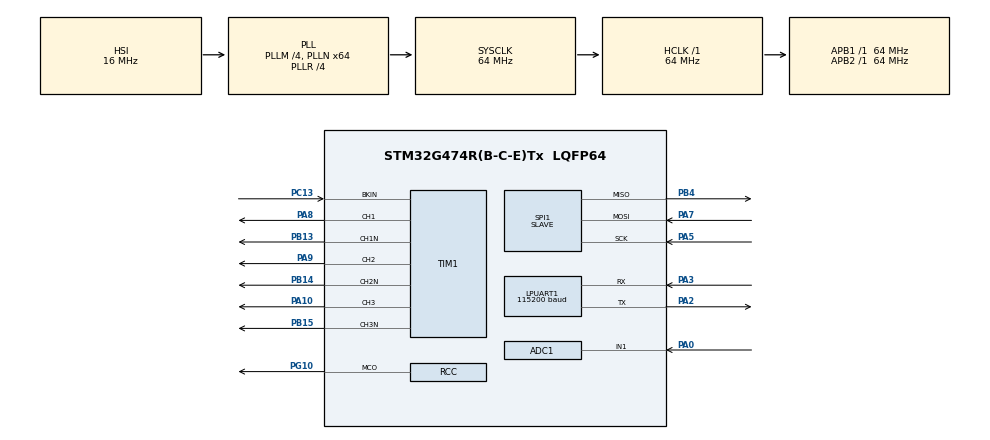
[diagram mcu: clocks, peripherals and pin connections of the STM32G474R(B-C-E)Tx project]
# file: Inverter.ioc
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ADC1.Channel-0\#ChannelRegularConversion=ADC_CHANNEL_1
ADC1.ClockPrescaler=ADC_CLOCK_ASYNC_DIV256
ADC1.ContinuousConvMode=ENABLE
ADC1.DMAContinuousRequests=ENABLE
ADC1.NbrOfConversionFlag=1
ADC1.OffsetNumber-0\#ChannelRegularConversion=ADC_OFFSET_NONE
ADC1.Overrun=ADC_OVR_DATA_OVERWRITTEN
ADC1.Rank-0\#ChannelRegularConversion=1
ADC1.SamplingTime-0\#ChannelRegularConversion=ADC_SAMPLETIME_2CYCLES_5
ADC1.master=1
Dma.ADC1.0.Direction=DMA_PERIPH_TO_MEMORY
Dma.ADC1.0.EventEnable=DISABLE
Dma.ADC1.0.Instance=DMA1_Channel1
Dma.ADC1.0.MemDataAlignment=DMA_MDATAALIGN_HALFWORD
Dma.ADC1.0.MemInc=DMA_MINC_ENABLE
Dma.ADC1.0.Mode=DMA_CIRCULAR
Dma.ADC1.0.PeriphDataAlignment=DMA_PDATAALIGN_HALFWORD
Dma.ADC1.0.PeriphInc=DMA_PINC_DISABLE
Dma.ADC1.0.Polarity=HAL_DMAMUX_REQ_GEN_RISING
Dma.ADC1.0.Priority=DMA_PRIORITY_LOW
Dma.ADC1.0.RequestNumber=1
Dma.ADC1.0.SignalID=NONE
Dma.ADC1.0.SyncEnable=DISABLE
Dma.ADC1.0.SyncPolarity=HAL_DMAMUX_SYNC_NO_EVENT
Dma.ADC1.0.SyncRequestNumber=1
Dma.ADC1.0.SyncSignalID=NONE
Dma.Request0=ADC1
IWDG.Prescaler=IWDG_PRESCALER_32
LPUART1.BaudRate=115200
Mcu.Family=STM32G4
Mcu.Name=STM32G474R(B-C-E)Tx
Mcu.Package=LQFP64
NVIC.DMA1_Channel1_IRQn=true\:0\:0\:false\:false\:true\:false\:true\:true
NVIC.PriorityGroup=NVIC_PRIORITYGROUP_4
PA0.Mode=IN1-Single-Ended
PA0.Signal=ADC1_IN1
PA10.Signal=S_TIM1_CH3
PA13.Mode=Serial_Wire
PA13.Signal=SYS_JTMS-SWDIO
PA14.Mode=Serial_Wire
PA14.Signal=SYS_JTCK-SWCLK
PA2.Mode=Asynchronous
PA2.Signal=LPUART1_TX
PA3.Mode=Asynchronous
PA3.Signal=LPUART1_RX
PA5.Mode=Full_Duplex_Slave
PA5.Signal=SPI1_SCK
PA7.Mode=Full_Duplex_Slave
PA7.Signal=SPI1_MOSI
PA8.Signal=S_TIM1_CH1
PA9.Signal=S_TIM1_CH2
PB13.Mode=PWM Generation1 CH1 CH1N
PB13.Signal=TIM1_CH1N
PB14.Mode=PWM Generation2 CH2 CH2N
PB14.Signal=TIM1_CH2N
PB15.Mode=PWM Generation3 CH3 CH3N
PB15.Signal=TIM1_CH3N
PB4.Mode=Full_Duplex_Slave
PB4.Signal=SPI1_MISO
PC13.Mode=Activate-Break-Input
PC13.Signal=TIM1_BKIN
PG10-NRST.GPIO_Speed=GPIO_SPEED_FREQ_VERY_HIGH
PG10-NRST.Mode=Clock-out
PG10-NRST.Signal=RCC_MCO
ProjectManager.HeapSize=0x200
ProjectManager.StackSize=0x400
ProjectManager.TargetToolchain=Makefile
RCC.ADC12CLockSelection=RCC_ADC12CLKSOURCE_PLL
RCC.ADC12Freq_Value=64000000
RCC.ADC345Freq_Value=64000000
RCC.AHBFreq_Value=64000000
RCC.APB1Freq_Value=64000000
RCC.APB1TimFreq_Value=64000000
RCC.APB2Freq_Value=64000000
RCC.APB2TimFreq_Value=64000000
RCC.CK48CLockSelection=RCC_USBCLKSOURCE_HSI48
RCC.CortexFreq_Value=64000000
RCC.EXTERNAL_CLOCK_VALUE=12288000
RCC.HCLKFreq_Value=64000000
RCC.HSE_VALUE=8000000
RCC.HSI48_VALUE=48000000
RCC.HSI_VALUE=16000000
RCC.LSE_VALUE=32768
RCC.PLLM=RCC_PLLM_DIV4
RCC.PLLN=64
RCC.PLLP=RCC_PLLP_DIV4
RCC.PLLQ=RCC_PLLQ_DIV4
RCC.PLLR=RCC_PLLR_DIV4
RCC.RCC_MCO1Source=RCC_MCO1SOURCE_LSI
RCC.SYSCLKFreq_VALUE=64000000
RCC.SYSCLKSource=RCC_SYSCLKSOURCE_PLLCLK
RCC.USBFreq_Value=48000000
RCC.VCOOutputFreq_Value=256000000
SH.S_TIM1_CH1.0=TIM1_CH1,PWM Generation1 CH1 CH1N
SH.S_TIM1_CH2.0=TIM1_CH2,PWM Generation2 CH2 CH2N
SH.S_TIM1_CH3.0=TIM1_CH3,PWM Generation3 CH3 CH3N
SPI1.DataSize=SPI_DATASIZE_8BIT
SPI1.Direction=SPI_DIRECTION_2LINES
SPI1.Mode=SPI_MODE_SLAVE
SPI1.VirtualType=VM_SLAVE
TIM1.Channel-PWM\ Generation1\ CH1\ CH1N=TIM_CHANNEL_1
TIM1.Channel-PWM\ Generation2\ CH2\ CH2N=TIM_CHANNEL_2
TIM1.Channel-PWM\ Generation3\ CH3\ CH3N=TIM_CHANNEL_3
VP_IWDG_VS_IWDG.Mode=IWDG_Activate
VP_SYS_VS_DBSignals.Mode=DisableDeadBatterySignals
board=custom

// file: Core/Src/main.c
/* USER CODE BEGIN Header */
/**
 ******************************************************************************
 * @file           : main.c
 * @brief          : Main program body
 ******************************************************************************
 * @attention
 *
 * Copyright (c) 2026 STMicroelectronics.
 * All rights reserved.
 *
 * This software is licensed under terms that can be found in the LICENSE file
 * in the root directory of this software component.
 * If no LICENSE file comes with this software, it is provided AS-IS.
 *
 ******************************************************************************
 */
/* USER CODE END Header */
#include "main.h"

/* USER CODE BEGIN Includes */
#include <math.h>
#include <stdio.h>
#include <stdlib.h>
/* USER CODE END Includes */

/* USER CODE BEGIN PD */
// MARK: #defines
#define INV_TWO_PI 6.28318530718f
#define INV_PHASE_SHIFT_120_RAD 2.09439510239f
#define INV_PHASE_SHIFT_240_RAD 4.18879020479f
#define INV_MODULATION_MAX                                                                         \
    0.7f // max duty cycle (max - min) of the square wave, max is 1.0, but don't go over 0.9
#define INV_MODULATION_RAMP_STEP 0.0001f
#define INV_OUTPUT_FREQ_HZ 2.0f
#define INV_MAX_DUTY_CYCLE 1.0f // Max duty cycle; if it is over 1.0, it causes overflow
#define DELAY_MS 1              // Delay in ms for main loop update rate
#define ADC_BUFFER_SIZE 32U
/* USER CODE END PD */

ADC_HandleTypeDef hadc1;
DMA_HandleTypeDef hdma_adc1;

IWDG_HandleTypeDef hiwdg;

UART_HandleTypeDef hlpuart1;

SPI_HandleTypeDef hspi1;

TIM_HandleTypeDef htim1;

/* USER CODE BEGIN PV */
// MARK: Private Var
static float g_phase_rad = 0.0f;        // Current electrical angle in radians
static float g_modulation_index = 0.0f; // PWM duty cycle (0.0 to 1.0), starts at 0 for ramp-up
// static uint8_t spi_rx_buffer[4];        // 4 bytes, 32bits for a float
static volatile uint16_t adc_buf[ADC_BUFFER_SIZE];
static volatile uint16_t adc_latest = 0;
/* USER CODE END PV */

void SystemClock_Config(void);
static void MX_GPIO_Init(void);
static void MX_DMA_Init(void);
static void MX_TIM1_Init(void);
static void MX_SPI1_Init(void);
static void MX_IWDG_Init(void);
static void MX_ADC1_Init(void);
static void MX_LPUART1_UART_Init(void);
/* USER CODE BEGIN PFP */
static void Inverter_StartPwmOutputs(void);
static void Inverter_UpdateSineDuty(float electrical_angle_rad, float modulation_index);
// void HAL_SPI_RxCpltCallback(SPI_HandleTypeDef *hspi);
/* USER CODE END PFP */

/* USER CODE BEGIN 0 */
// MARK: User Funcs

// void HAL_SPI_RxCpltCallback(SPI_HandleTypeDef *hspi){
//   if(hspi->Instance == SPI1) {
//     memcpy(&g_phase_rad, spi_rx_buffer, sizeof(float)); // Copy received bytes into g_phase_rad
//     HAL_SPI_Receive_IT(&hspi1, spi_rx_buffer, sizeof(float)); // Restart SPI receive in interrupt
//     mode
//   }
// }

static uint32_t Inverter_ClampCompare(
    float duty_cycle
) { // clamps duty cycle to max and converts to timer compare value
    const float clamped_mod = fminf(fmaxf(duty_cycle, 0.0f), INV_MAX_DUTY_CYCLE);
    return (uint32_t)(clamped_mod * htim1.Init.Period);
}

static void Inverter_StartPwmOutputs(void) {
    if (HAL_TIM_PWM_Start(&htim1, TIM_CHANNEL_1) != HAL_OK) {
        Error_Handler();
    }
    if (HAL_TIMEx_PWMN_Start(&htim1, TIM_CHANNEL_1) != HAL_OK) {
        Error_Handler();
    } // Start complementary output for channel 1

    if (HAL_TIM_PWM_Start(&htim1, TIM_CHANNEL_2) != HAL_OK) {
        Error_Handler();
    }
    if (HAL_TIMEx_PWMN_Start(&htim1, TIM_CHANNEL_2) != HAL_OK) {
        Error_Handler();
    } // Start complementary output for channel 2

    if (HAL_TIM_PWM_Start(&htim1, TIM_CHANNEL_3) != HAL_OK) {
        Error_Handler();
    }
    if (HAL_TIMEx_PWMN_Start(&htim1, TIM_CHANNEL_3) != HAL_OK) {
        Error_Handler();
    } // Start complementary output for channel 1
}

static void Inverter_UpdateSineDuty(float electrical_angle_rad, float modulation_index) {
    const float m =
        fminf(fmaxf(modulation_index, 0.0f), INV_MODULATION_MAX); // Clamp modulation index to max
    // Function for duty cycle: D = 0.5 + 0.5 * m * sin(wt) for each phase, where m is modu. index
    // and wd is elec. angle
    const float duty_a = 0.5f + 0.5f * m * sinf(electrical_angle_rad);
    const float duty_b = 0.5f + 0.5f * m * sinf(electrical_angle_rad + INV_PHASE_SHIFT_120_RAD);
    const float duty_c = 0.5f + 0.5f * m * sinf(electrical_angle_rad + INV_PHASE_SHIFT_240_RAD);

    __HAL_TIM_SET_COMPARE(&htim1, TIM_CHANNEL_1, Inverter_ClampCompare(duty_a));
    __HAL_TIM_SET_COMPARE(&htim1, TIM_CHANNEL_2, Inverter_ClampCompare(duty_b));
    __HAL_TIM_SET_COMPARE(&htim1, TIM_CHANNEL_3, Inverter_ClampCompare(duty_c));
}
/* USER CODE END 0 */

int main(void)
{

  /* USER CODE BEGIN 1 */
    // MARK: Main

  /* USER CODE END 1 */

  /* MCU Configuration--------------------------------------------------------*/

  /* Reset of all peripherals, Initializes the Flash interface and the Systick. */
  HAL_Init();

  /* Configure the system clock */
  SystemClock_Config();

  /* Initialize all configured peripherals */
  MX_GPIO_Init();
  MX_DMA_Init();
  MX_TIM1_Init();
  MX_SPI1_Init();
  MX_IWDG_Init();
  MX_ADC1_Init();
  MX_LPUART1_UART_Init();
  /* USER CODE BEGIN 2 */
    Inverter_StartPwmOutputs(); // Start PWM outputs before entering main loop

    if (HAL_ADCEx_Calibration_Start(&hadc1, ADC_SINGLE_ENDED) != HAL_OK) {
        Error_Handler();
    }
    if (HAL_ADC_Start_DMA(&hadc1, (uint32_t *)adc_buf, ADC_BUFFER_SIZE) != HAL_OK) {
        Error_Handler();
    }
    // HAL_SPI_Receive_IT(&hspi1, spi_rx_buffer, sizeof(float)); // Starts SPI receive for
    // interrupts

  /* USER CODE END 2 */

  /* Infinite loop */
  /* USER CODE BEGIN WHILE */
    // MARK: While Loop
    while (1) {
    /* USER CODE END WHILE */

    /* USER CODE BEGIN 3 */
        // simulate phase angle
        const float dtime_s = 0.001f; // delta time, 1ms update interval
        g_phase_rad += INV_TWO_PI * INV_OUTPUT_FREQ_HZ *
                       dtime_s; // Increment phase based on desired output frequency
        if (g_phase_rad >= INV_TWO_PI) {
            g_phase_rad -= INV_TWO_PI;
        } // Wrap phase to [0, 2*pi]

        // // Blocking receive from SPI
        // HAL_SPI_Receive(&hspi1, spi_rx_buffer, sizeof(float), HAL_MAX_DELAY); // Receive 4
        // bytes (32 bits) from SPI memcpy(&g_phase_rad, spi_rx_buffer, sizeof(float)); // Copy
        // received bytes into g_phase_rad
        static uint32_t last_time = 0;
        uint32_t now = HAL_GetTick();

        if ((now - last_time) >= 100u) {
            last_time = now;

            char message[32];
            unsigned sample = adc_latest;
            int length = snprintf(message, sizeof(message), "ADC: %u\r\n", sample);
            if (length > 0 && length < (int)sizeof(message)) {
                HAL_UART_Transmit(&hlpuart1, (uint8_t *)message, (uint16_t)length, 10);
            }
        }

        // ramp up modulation index to max for smooth startup
        if (g_modulation_index < INV_MODULATION_MAX) { // Ramp up modulation index to max
            g_modulation_index += INV_MODULATION_RAMP_STEP;
            if (g_modulation_index > INV_MODULATION_MAX) { // Clamp to max
                g_modulation_index = INV_MODULATION_MAX;
            }
        }

        Inverter_UpdateSineDuty(g_phase_rad, g_modulation_index); // Update PWM duty cycle
        HAL_IWDG_Refresh(&hiwdg);
        HAL_Delay(DELAY_MS); // Delay 1ms
    }
  /* USER CODE END 3 */
}

void SystemClock_Config(void)
{
  RCC_OscInitTypeDef RCC_OscInitStruct = {0};
  RCC_ClkInitTypeDef RCC_ClkInitStruct = {0};

  /** Configure the main internal regulator output voltage
  */
  HAL_PWREx_ControlVoltageScaling(PWR_REGULATOR_VOLTAGE_SCALE1);

  /** Initializes the RCC Oscillators according to the specified parameters
  * in the RCC_OscInitTypeDef structure.
  */
  RCC_OscInitStruct.OscillatorType = RCC_OSCILLATORTYPE_HSI|RCC_OSCILLATORTYPE_LSI;
  RCC_OscInitStruct.HSIState = RCC_HSI_ON;
  RCC_OscInitStruct.HSICalibrationValue = RCC_HSICALIBRATION_DEFAULT;
  RCC_OscInitStruct.LSIState = RCC_LSI_ON;
  RCC_OscInitStruct.PLL.PLLState = RCC_PLL_ON;
  RCC_OscInitStruct.PLL.PLLSource = RCC_PLLSOURCE_HSI;
  RCC_OscInitStruct.PLL.PLLM = RCC_PLLM_DIV4;
  RCC_OscInitStruct.PLL.PLLN = 64;
  RCC_OscInitStruct.PLL.PLLP = RCC_PLLP_DIV4;
  RCC_OscInitStruct.PLL.PLLQ = RCC_PLLQ_DIV4;
  RCC_OscInitStruct.PLL.PLLR = RCC_PLLR_DIV4;
  if (HAL_RCC_OscConfig(&RCC_OscInitStruct) != HAL_OK)
  {
    Error_Handler();
  }

  /** Initializes the CPU, AHB and APB buses clocks
  */
  RCC_ClkInitStruct.ClockType = RCC_CLOCKTYPE_HCLK|RCC_CLOCKTYPE_SYSCLK
                              |RCC_CLOCKTYPE_PCLK1|RCC_CLOCKTYPE_PCLK2;
  RCC_ClkInitStruct.SYSCLKSource = RCC_SYSCLKSOURCE_PLLCLK;
  RCC_ClkInitStruct.AHBCLKDivider = RCC_SYSCLK_DIV1;
  RCC_ClkInitStruct.APB1CLKDivider = RCC_HCLK_DIV1;
  RCC_ClkInitStruct.APB2CLKDivider = RCC_HCLK_DIV1;

  if (HAL_RCC_ClockConfig(&RCC_ClkInitStruct, FLASH_LATENCY_2) != HAL_OK)
  {
    Error_Handler();
  }
  HAL_RCC_MCOConfig(RCC_MCO_PG10, RCC_MCO1SOURCE_LSI, RCC_MCODIV_1);
}

static void MX_ADC1_Init(void)
{

  ADC_MultiModeTypeDef multimode = {0};
  ADC_ChannelConfTypeDef sConfig = {0};

  /** Common config
  */
  hadc1.Instance = ADC1;
  hadc1.Init.ClockPrescaler = ADC_CLOCK_ASYNC_DIV256;
  hadc1.Init.Resolution = ADC_RESOLUTION_12B;
  hadc1.Init.DataAlign = ADC_DATAALIGN_RIGHT;
  hadc1.Init.GainCompensation = 0;
  hadc1.Init.ScanConvMode = ADC_SCAN_DISABLE;
  hadc1.Init.EOCSelection = ADC_EOC_SINGLE_CONV;
  hadc1.Init.LowPowerAutoWait = DISABLE;
  hadc1.Init.ContinuousConvMode = ENABLE;
  hadc1.Init.NbrOfConversion = 1;
  hadc1.Init.DiscontinuousConvMode = DISABLE;
  hadc1.Init.ExternalTrigConv = ADC_SOFTWARE_START;
  hadc1.Init.ExternalTrigConvEdge = ADC_EXTERNALTRIGCONVEDGE_NONE;
  hadc1.Init.DMAContinuousRequests = ENABLE;
  hadc1.Init.Overrun = ADC_OVR_DATA_OVERWRITTEN;
  hadc1.Init.OversamplingMode = DISABLE;
  if (HAL_ADC_Init(&hadc1) != HAL_OK)
  {
    Error_Handler();
  }

  /** Configure the ADC multi-mode
  */
  multimode.Mode = ADC_MODE_INDEPENDENT;
  if (HAL_ADCEx_MultiModeConfigChannel(&hadc1, &multimode) != HAL_OK)
  {
    Error_Handler();
  }

  /** Configure Regular Channel
  */
  sConfig.Channel = ADC_CHANNEL_1;
  sConfig.Rank = ADC_REGULAR_RANK_1;
  sConfig.SamplingTime = ADC_SAMPLETIME_2CYCLES_5;
  sConfig.SingleDiff = ADC_SINGLE_ENDED;
  sConfig.OffsetNumber = ADC_OFFSET_NONE;
  sConfig.Offset = 0;
  if (HAL_ADC_ConfigChannel(&hadc1, &sConfig) != HAL_OK)
  {
    Error_Handler();
  }

}

static void MX_IWDG_Init(void)
{

  hiwdg.Instance = IWDG;
  hiwdg.Init.Prescaler = IWDG_PRESCALER_32;
  hiwdg.Init.Window = 4095;
  hiwdg.Init.Reload = 4095;
  if (HAL_IWDG_Init(&hiwdg) != HAL_OK)
  {
    Error_Handler();
  }

}

static void MX_LPUART1_UART_Init(void)
{

  hlpuart1.Instance = LPUART1;
  hlpuart1.Init.BaudRate = 115200;
  hlpuart1.Init.WordLength = UART_WORDLENGTH_8B;
  hlpuart1.Init.StopBits = UART_STOPBITS_1;
  hlpuart1.Init.Parity = UART_PARITY_NONE;
  hlpuart1.Init.Mode = UART_MODE_TX_RX;
  hlpuart1.Init.HwFlowCtl = UART_HWCONTROL_NONE;
  hlpuart1.Init.OneBitSampling = UART_ONE_BIT_SAMPLE_DISABLE;
  hlpuart1.Init.ClockPrescaler = UART_PRESCALER_DIV1;
  hlpuart1.AdvancedInit.AdvFeatureInit = UART_ADVFEATURE_NO_INIT;
  if (HAL_UART_Init(&hlpuart1) != HAL_OK)
  {
    Error_Handler();
  }
  if (HAL_UARTEx_SetTxFifoThreshold(&hlpuart1, UART_TXFIFO_THRESHOLD_1_8) != HAL_OK)
  {
    Error_Handler();
  }
  if (HAL_UARTEx_SetRxFifoThreshold(&hlpuart1, UART_RXFIFO_THRESHOLD_1_8) != HAL_OK)
  {
    Error_Handler();
  }
  if (HAL_UARTEx_DisableFifoMode(&hlpuart1) != HAL_OK)
  {
    Error_Handler();
  }

}

static void MX_SPI1_Init(void)
{

  /* SPI1 parameter configuration*/
  hspi1.Instance = SPI1;
  hspi1.Init.Mode = SPI_MODE_SLAVE;
  hspi1.Init.Direction = SPI_DIRECTION_2LINES;
  hspi1.Init.DataSize = SPI_DATASIZE_8BIT;
  hspi1.Init.CLKPolarity = SPI_POLARITY_LOW;
  hspi1.Init.CLKPhase = SPI_PHASE_1EDGE;
  hspi1.Init.NSS = SPI_NSS_SOFT;
  hspi1.Init.FirstBit = SPI_FIRSTBIT_MSB;
  hspi1.Init.TIMode = SPI_TIMODE_DISABLE;
  hspi1.Init.CRCCalculation = SPI_CRCCALCULATION_DISABLE;
  hspi1.Init.CRCPolynomial = 7;
  hspi1.Init.CRCLength = SPI_CRC_LENGTH_DATASIZE;
  hspi1.Init.NSSPMode = SPI_NSS_PULSE_DISABLE;
  if (HAL_SPI_Init(&hspi1) != HAL_OK)
  {
    Error_Handler();
  }

}

static void MX_TIM1_Init(void)
{

  TIM_MasterConfigTypeDef sMasterConfig = {0};
  TIMEx_BreakInputConfigTypeDef sBreakInputConfig = {0};
  TIM_OC_InitTypeDef sConfigOC = {0};
  TIM_BreakDeadTimeConfigTypeDef sBreakDeadTimeConfig = {0};

  htim1.Instance = TIM1;
  htim1.Init.Prescaler = 0;
  htim1.Init.CounterMode = TIM_COUNTERMODE_UP;
  htim1.Init.Period = 65535;
  htim1.Init.ClockDivision = TIM_CLOCKDIVISION_DIV1;
  htim1.Init.RepetitionCounter = 0;
  htim1.Init.AutoReloadPreload = TIM_AUTORELOAD_PRELOAD_DISABLE;
  if (HAL_TIM_PWM_Init(&htim1) != HAL_OK)
  {
    Error_Handler();
  }
  sMasterConfig.MasterOutputTrigger = TIM_TRGO_RESET;
  sMasterConfig.MasterOutputTrigger2 = TIM_TRGO2_RESET;
  sMasterConfig.MasterSlaveMode = TIM_MASTERSLAVEMODE_DISABLE;
  if (HAL_TIMEx_MasterConfigSynchronization(&htim1, &sMasterConfig) != HAL_OK)
  {
    Error_Handler();
  }
  sBreakInputConfig.Source = TIM_BREAKINPUTSOURCE_BKIN;
  sBreakInputConfig.Enable = TIM_BREAKINPUTSOURCE_ENABLE;
  sBreakInputConfig.Polarity = TIM_BREAKINPUTSOURCE_POLARITY_HIGH;
  if (HAL_TIMEx_ConfigBreakInput(&htim1, TIM_BREAKINPUT_BRK, &sBreakInputConfig) != HAL_OK)
  {
    Error_Handler();
  }
  sConfigOC.OCMode = TIM_OCMODE_PWM1;
  sConfigOC.Pulse = 0;
  sConfigOC.OCPolarity = TIM_OCPOLARITY_HIGH;
  sConfigOC.OCNPolarity = TIM_OCNPOLARITY_HIGH;
  sConfigOC.OCFastMode = TIM_OCFAST_DISABLE;
  sConfigOC.OCIdleState = TIM_OCIDLESTATE_RESET;
  sConfigOC.OCNIdleState = TIM_OCNIDLESTATE_RESET;
  if (HAL_TIM_PWM_ConfigChannel(&htim1, &sConfigOC, TIM_CHANNEL_1) != HAL_OK)
  {
    Error_Handler();
  }
  if (HAL_TIM_PWM_ConfigChannel(&htim1, &sConfigOC, TIM_CHANNEL_2) != HAL_OK)
  {
    Error_Handler();
  }
  if (HAL_TIM_PWM_ConfigChannel(&htim1, &sConfigOC, TIM_CHANNEL_3) != HAL_OK)
  {
    Error_Handler();
  }
  sBreakDeadTimeConfig.OffStateRunMode = TIM_OSSR_DISABLE;
  sBreakDeadTimeConfig.OffStateIDLEMode = TIM_OSSI_DISABLE;
  sBreakDeadTimeConfig.LockLevel = TIM_LOCKLEVEL_OFF;
  sBreakDeadTimeConfig.DeadTime = 0;
  sBreakDeadTimeConfig.BreakState = TIM_BREAK_ENABLE;
  sBreakDeadTimeConfig.BreakPolarity = TIM_BREAKPOLARITY_HIGH;
  sBreakDeadTimeConfig.BreakFilter = 0;
  sBreakDeadTimeConfig.BreakAFMode = TIM_BREAK_AFMODE_INPUT;
  sBreakDeadTimeConfig.Break2State = TIM_BREAK2_DISABLE;
  sBreakDeadTimeConfig.Break2Polarity = TIM_BREAK2POLARITY_HIGH;
  sBreakDeadTimeConfig.Break2Filter = 0;
  sBreakDeadTimeConfig.Break2AFMode = TIM_BREAK_AFMODE_INPUT;
  sBreakDeadTimeConfig.AutomaticOutput = TIM_AUTOMATICOUTPUT_DISABLE;
  if (HAL_TIMEx_ConfigBreakDeadTime(&htim1, &sBreakDeadTimeConfig) != HAL_OK)
  {
    Error_Handler();
  }
  HAL_TIM_MspPostInit(&htim1);

}

static void MX_DMA_Init(void)
{

  /* DMA controller clock enable */
  __HAL_RCC_DMAMUX1_CLK_ENABLE();
  __HAL_RCC_DMA1_CLK_ENABLE();

  /* DMA interrupt init */
  /* DMA1_Channel1_IRQn interrupt configuration */
  HAL_NVIC_SetPriority(DMA1_Channel1_IRQn, 0, 0);
  HAL_NVIC_EnableIRQ(DMA1_Channel1_IRQn);

}

static void MX_GPIO_Init(void)
{
  GPIO_InitTypeDef GPIO_InitStruct = {0};

  /* GPIO Ports Clock Enable */
  __HAL_RCC_GPIOC_CLK_ENABLE();
  __HAL_RCC_GPIOG_CLK_ENABLE();
  __HAL_RCC_GPIOA_CLK_ENABLE();
  __HAL_RCC_GPIOB_CLK_ENABLE();

  /*Configure GPIO pin : PG10 */
  GPIO_InitStruct.Pin = GPIO_PIN_10;
  GPIO_InitStruct.Mode = GPIO_MODE_AF_PP;
  GPIO_InitStruct.Pull = GPIO_NOPULL;
  GPIO_InitStruct.Speed = GPIO_SPEED_FREQ_VERY_HIGH;
  GPIO_InitStruct.Alternate = GPIO_AF0_MCO;
  HAL_GPIO_Init(GPIOG, &GPIO_InitStruct);

}

/* USER CODE BEGIN 4 */
// MARK: ADC CBs

// Gets called when the buf is half full
void HAL_ADC_ConvHalfCpltCallback(ADC_HandleTypeDef *hadc) {
    if (hadc->Instance == ADC1) {
        adc_latest = adc_buf[ADC_BUFFER_SIZE / 2 - 1];
    }
}

// Gets called when the buf is full
void HAL_ADC_ConvCpltCallback(ADC_HandleTypeDef *hadc) {
    if (hadc->Instance == ADC1) {
        adc_latest = adc_buf[ADC_BUFFER_SIZE - 1];
    }
}
/* USER CODE END 4 */

void Error_Handler(void)
{
    __disable_irq();
    while (1) {
    }
}
